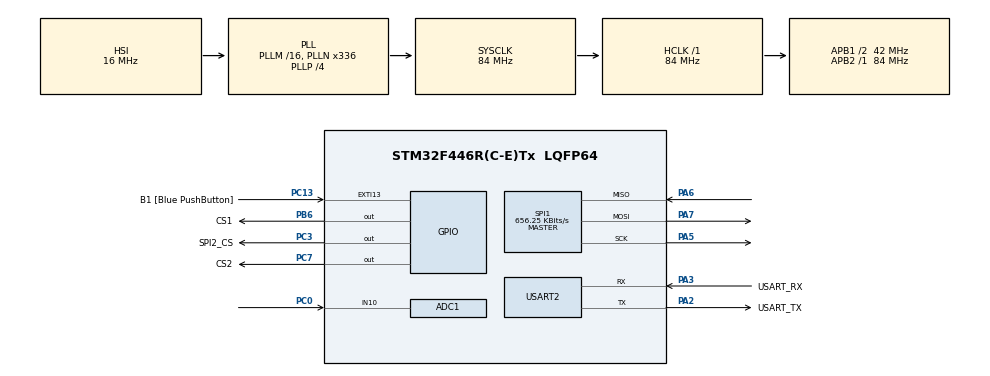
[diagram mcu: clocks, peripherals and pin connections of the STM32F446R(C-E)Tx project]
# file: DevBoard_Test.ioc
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ADC1.Channel-0\#ChannelRegularConversion=ADC_CHANNEL_10
ADC1.NbrOfConversionFlag=1
ADC1.Rank-0\#ChannelRegularConversion=1
ADC1.SamplingTime-0\#ChannelRegularConversion=ADC_SAMPLETIME_3CYCLES
ADC1.master=1
Mcu.Family=STM32F4
Mcu.Name=STM32F446R(C-E)Tx
Mcu.Package=LQFP64
NVIC.PriorityGroup=NVIC_PRIORITYGROUP_0
NVIC.TIM8_BRK_TIM12_IRQn=true\:0\:0\:false\:false\:true\:true\:true
NVIC.TIM8_TRG_COM_TIM14_IRQn=true\:0\:0\:false\:false\:true\:true\:true
NVIC.TIM8_UP_TIM13_IRQn=true\:0\:1\:false\:false\:true\:true\:true
PA13.GPIO_Label=TMS
PA13.Mode=Serial_Wire
PA13.Signal=SYS_JTMS-SWDIO
PA14.GPIO_Label=TCK
PA14.Mode=Serial_Wire
PA14.Signal=SYS_JTCK-SWCLK
PA2.GPIO_Label=USART_TX
PA2.Mode=Asynchronous
PA2.Signal=USART2_TX
PA3.GPIO_Label=USART_RX
PA3.Mode=Asynchronous
PA3.Signal=USART2_RX
PA5.Mode=Full_Duplex_Master
PA5.Signal=SPI1_SCK
PA6.Mode=Full_Duplex_Master
PA6.Signal=SPI1_MISO
PA7.Mode=Full_Duplex_Master
PA7.Signal=SPI1_MOSI
PB3.GPIO_Label=SWO
PB3.Signal=SYS_JTDO-SWO
PB6.GPIO_Label=CS1
PB6.Signal=GPIO_Output
PC0.Signal=ADCx_IN10
PC13.GPIO_Label=B1 [Blue PushButton]
PC13.GPIO_ModeDefaultEXTI=GPIO_MODE_IT_FALLING
PC13.Signal=GPXTI13
PC14-OSC32_IN.Mode=LSE-External-Oscillator
PC14-OSC32_IN.Signal=RCC_OSC32_IN
PC15-OSC32_OUT.Mode=LSE-External-Oscillator
PC15-OSC32_OUT.Signal=RCC_OSC32_OUT
PC3.GPIO_Label=SPI2_CS
PC3.Signal=GPIO_Output
PC7.GPIO_Label=CS2
PC7.Signal=GPIO_Output
PH0-OSC_IN.Mode=HSE-External-Oscillator
PH0-OSC_IN.Signal=RCC_OSC_IN
PH1-OSC_OUT.Mode=HSE-External-Oscillator
PH1-OSC_OUT.Signal=RCC_OSC_OUT
ProjectManager.HeapSize=0x200
ProjectManager.StackSize=0x400
ProjectManager.TargetToolchain=STM32CubeIDE
RCC.48MHZClocksFreq_Value=84000000
RCC.AHBFreq_Value=84000000
RCC.APB1CLKDivider=RCC_HCLK_DIV2
RCC.APB1Freq_Value=42000000
RCC.APB1TimFreq_Value=84000000
RCC.APB2Freq_Value=84000000
RCC.APB2TimFreq_Value=84000000
RCC.CortexFreq_Value=84000000
RCC.FLatency-AdvancedSettings=FLASH_LATENCY_2
RCC.HCLKFreq_Value=84000000
RCC.HSE_VALUE=8000000
RCC.HSI_VALUE=16000000
RCC.PLLN=336
RCC.PLLP=RCC_PLLP_DIV4
RCC.SYSCLKFreq_VALUE=84000000
RCC.SYSCLKSource=RCC_SYSCLKSOURCE_PLLCLK
RCC.USBFreq_Value=168000000
RCC.VCOOutputFreq_Value=336000000
SH.ADCx_IN10.0=ADC1_IN10,IN10
SPI1.BaudRatePrescaler=SPI_BAUDRATEPRESCALER_128
SPI1.CalculateBaudRate=656.25 KBits/s
SPI1.Direction=SPI_DIRECTION_2LINES
SPI1.Mode=SPI_MODE_MASTER
SPI1.VirtualType=VM_MASTER
TIM11.Prescaler=84-1
TIM12.Period=12500-1
TIM12.Prescaler=33600-1
TIM13.Period=10000-1
TIM13.Prescaler=8400-1
TIM14.Period=1000-1
TIM14.Prescaler=8400-1
USART2.VirtualMode=VM_ASYNC
VP_TIM11_VS_ClockSourceINT.Mode=Enable_Timer
VP_TIM12_VS_ClockSourceINT.Mode=Internal
VP_TIM13_VS_ClockSourceINT.Mode=Enable_Timer
VP_TIM14_VS_ClockSourceINT.Mode=Enable_Timer
board=NUCLEO-F446RE

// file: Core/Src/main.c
/* USER CODE BEGIN Header */
/**
  ******************************************************************************
  * @file           : main.c
  * @brief          : Main program body
  ******************************************************************************
  * @attention
  *
  * <h2><center>&copy; Copyright (c) 2022 STMicroelectronics.
  * All rights reserved.</center></h2>
  *
  * This software component is licensed by ST under BSD 3-Clause license,
  * the "License"; You may not use this file except in compliance with the
  * License. You may obtain a copy of the License at:
  *                        opensource.org/licenses/BSD-3-Clause
  *
  ******************************************************************************
  */
/* USER CODE END Header */
#include "main.h"

/* USER CODE BEGIN Includes */
#include <stdio.h>
/* USER CODE END Includes */

ADC_HandleTypeDef hadc1;

SPI_HandleTypeDef hspi1;

TIM_HandleTypeDef htim11;
TIM_HandleTypeDef htim12;
TIM_HandleTypeDef htim13;
TIM_HandleTypeDef htim14;

UART_HandleTypeDef huart2;

void SystemClock_Config(void);
static void MX_GPIO_Init(void);
static void MX_USART2_UART_Init(void);
static void MX_TIM13_Init(void);
static void MX_SPI1_Init(void);
static void MX_TIM14_Init(void);
static void MX_TIM11_Init(void);
static void MX_TIM12_Init(void);
static void MX_ADC1_Init(void);

/* USER CODE BEGIN 0 */
LTC6811_2_IC ic;
ACCUMULATOR acc;
/* USER CODE END 0 */

int main(void)
{

  /* MCU Configuration--------------------------------------------------------*/

  /* Reset of all peripherals, Initializes the Flash interface and the Systick. */
  HAL_Init();

  /* Configure the system clock */
  SystemClock_Config();

  /* Initialize all configured peripherals */
  MX_GPIO_Init();
  MX_USART2_UART_Init();
  MX_TIM13_Init();
  MX_SPI1_Init();
  MX_TIM14_Init();
  MX_TIM11_Init();
  MX_TIM12_Init();
  MX_ADC1_Init();
  /* USER CODE BEGIN 2 */
	HAL_TIM_Base_Start(&htim11);

	HAL_GPIO_WritePin(CS1_GPIO_Port, CS1_Pin, 1);
	HAL_GPIO_WritePin(CS2_GPIO_Port, CS2_Pin, 1);
	/*uart_buf_len = sprintf(uart_buf, "Timer test\r\n");
	HAL_UART_Transmit(&huart2, (uint8_t *)uart_buf, uart_buf_len, 100);

	uart_buf2[0] = 0x41;
	uart_buf2[1] = 0x42;
	uart_buf2[2] = 0x43;
	uart_buf2[3] = 0x0D;
	uart_buf2[4] = 0x0A;

	HAL_UART_Transmit(&huart2, (uint8_t *)uart_buf2, 5, 100);*/

	//ic.address = 0b11010000;
	//ic.num_Cells = 8;
	ic.UV_OV_Flag = 0;
	ic.num_Cells = 15;
	ic.address = 0x00;
	//LTC6811_startup_new(&ic);

	LTC6811_startup(&ic);
	//get_init_SoC(&acc);

	HAL_TIM_Base_Start_IT(&htim14);
	//HAL_TIM_Base_Start_IT(&htim13);

	//TEST_dischargeCell(&ic);

	//if (chargePin == 1){						//Balance charging enable
		if(ic.UV_OV_Flag == 0){
			HAL_TIM_Base_Start_IT(&htim13);
		}
	//
	//}

  /* USER CODE END 2 */

  /* Infinite loop */
  while (1)
  {

  }
}

void SystemClock_Config(void)
{
  RCC_OscInitTypeDef RCC_OscInitStruct = {0};
  RCC_ClkInitTypeDef RCC_ClkInitStruct = {0};

  /** Configure the main internal regulator output voltage
  */
  __HAL_RCC_PWR_CLK_ENABLE();
  __HAL_PWR_VOLTAGESCALING_CONFIG(PWR_REGULATOR_VOLTAGE_SCALE3);
  /** Initializes the RCC Oscillators according to the specified parameters
  * in the RCC_OscInitTypeDef structure.
  */
  RCC_OscInitStruct.OscillatorType = RCC_OSCILLATORTYPE_HSI;
  RCC_OscInitStruct.HSIState = RCC_HSI_ON;
  RCC_OscInitStruct.HSICalibrationValue = RCC_HSICALIBRATION_DEFAULT;
  RCC_OscInitStruct.PLL.PLLState = RCC_PLL_ON;
  RCC_OscInitStruct.PLL.PLLSource = RCC_PLLSOURCE_HSI;
  RCC_OscInitStruct.PLL.PLLM = 16;
  RCC_OscInitStruct.PLL.PLLN = 336;
  RCC_OscInitStruct.PLL.PLLP = RCC_PLLP_DIV4;
  RCC_OscInitStruct.PLL.PLLQ = 2;
  RCC_OscInitStruct.PLL.PLLR = 2;
  if (HAL_RCC_OscConfig(&RCC_OscInitStruct) != HAL_OK)
  {
    Error_Handler();
  }
  /** Initializes the CPU, AHB and APB buses clocks
  */
  RCC_ClkInitStruct.ClockType = RCC_CLOCKTYPE_HCLK|RCC_CLOCKTYPE_SYSCLK
                              |RCC_CLOCKTYPE_PCLK1|RCC_CLOCKTYPE_PCLK2;
  RCC_ClkInitStruct.SYSCLKSource = RCC_SYSCLKSOURCE_PLLCLK;
  RCC_ClkInitStruct.AHBCLKDivider = RCC_SYSCLK_DIV1;
  RCC_ClkInitStruct.APB1CLKDivider = RCC_HCLK_DIV2;
  RCC_ClkInitStruct.APB2CLKDivider = RCC_HCLK_DIV1;

  if (HAL_RCC_ClockConfig(&RCC_ClkInitStruct, FLASH_LATENCY_2) != HAL_OK)
  {
    Error_Handler();
  }
}

static void MX_ADC1_Init(void)
{

  ADC_ChannelConfTypeDef sConfig = {0};

  /** Configure the global features of the ADC (Clock, Resolution, Data Alignment and number of conversion)
  */
  hadc1.Instance = ADC1;
  hadc1.Init.ClockPrescaler = ADC_CLOCK_SYNC_PCLK_DIV4;
  hadc1.Init.Resolution = ADC_RESOLUTION_12B;
  hadc1.Init.ScanConvMode = DISABLE;
  hadc1.Init.ContinuousConvMode = DISABLE;
  hadc1.Init.DiscontinuousConvMode = DISABLE;
  hadc1.Init.ExternalTrigConvEdge = ADC_EXTERNALTRIGCONVEDGE_NONE;
  hadc1.Init.ExternalTrigConv = ADC_SOFTWARE_START;
  hadc1.Init.DataAlign = ADC_DATAALIGN_RIGHT;
  hadc1.Init.NbrOfConversion = 1;
  hadc1.Init.DMAContinuousRequests = DISABLE;
  hadc1.Init.EOCSelection = ADC_EOC_SINGLE_CONV;
  if (HAL_ADC_Init(&hadc1) != HAL_OK)
  {
    Error_Handler();
  }
  /** Configure for the selected ADC regular channel its corresponding rank in the sequencer and its sample time.
  */
  sConfig.Channel = ADC_CHANNEL_10;
  sConfig.Rank = 1;
  sConfig.SamplingTime = ADC_SAMPLETIME_3CYCLES;
  if (HAL_ADC_ConfigChannel(&hadc1, &sConfig) != HAL_OK)
  {
    Error_Handler();
  }

}

static void MX_SPI1_Init(void)
{

  /* SPI1 parameter configuration*/
  hspi1.Instance = SPI1;
  hspi1.Init.Mode = SPI_MODE_MASTER;
  hspi1.Init.Direction = SPI_DIRECTION_2LINES;
  hspi1.Init.DataSize = SPI_DATASIZE_8BIT;
  hspi1.Init.CLKPolarity = SPI_POLARITY_LOW;
  hspi1.Init.CLKPhase = SPI_PHASE_1EDGE;
  hspi1.Init.NSS = SPI_NSS_SOFT;
  hspi1.Init.BaudRatePrescaler = SPI_BAUDRATEPRESCALER_128;
  hspi1.Init.FirstBit = SPI_FIRSTBIT_MSB;
  hspi1.Init.TIMode = SPI_TIMODE_DISABLE;
  hspi1.Init.CRCCalculation = SPI_CRCCALCULATION_DISABLE;
  hspi1.Init.CRCPolynomial = 10;
  if (HAL_SPI_Init(&hspi1) != HAL_OK)
  {
    Error_Handler();
  }

}

static void MX_TIM11_Init(void)
{

  htim11.Instance = TIM11;
  htim11.Init.Prescaler = 84-1;
  htim11.Init.CounterMode = TIM_COUNTERMODE_UP;
  htim11.Init.Period = 65535;
  htim11.Init.ClockDivision = TIM_CLOCKDIVISION_DIV1;
  htim11.Init.AutoReloadPreload = TIM_AUTORELOAD_PRELOAD_DISABLE;
  if (HAL_TIM_Base_Init(&htim11) != HAL_OK)
  {
    Error_Handler();
  }

}

static void MX_TIM12_Init(void)
{

  TIM_ClockConfigTypeDef sClockSourceConfig = {0};

  htim12.Instance = TIM12;
  htim12.Init.Prescaler = 33600-1;
  htim12.Init.CounterMode = TIM_COUNTERMODE_UP;
  htim12.Init.Period = 12500-1;
  htim12.Init.ClockDivision = TIM_CLOCKDIVISION_DIV1;
  htim12.Init.AutoReloadPreload = TIM_AUTORELOAD_PRELOAD_DISABLE;
  if (HAL_TIM_Base_Init(&htim12) != HAL_OK)
  {
    Error_Handler();
  }
  sClockSourceConfig.ClockSource = TIM_CLOCKSOURCE_INTERNAL;
  if (HAL_TIM_ConfigClockSource(&htim12, &sClockSourceConfig) != HAL_OK)
  {
    Error_Handler();
  }

}

static void MX_TIM13_Init(void)
{

  htim13.Instance = TIM13;
  htim13.Init.Prescaler = 8400-1;
  htim13.Init.CounterMode = TIM_COUNTERMODE_UP;
  htim13.Init.Period = 100000-1;
  htim13.Init.ClockDivision = TIM_CLOCKDIVISION_DIV1;
  htim13.Init.AutoReloadPreload = TIM_AUTORELOAD_PRELOAD_DISABLE;
  if (HAL_TIM_Base_Init(&htim13) != HAL_OK)
  {
    Error_Handler();
  }

}

static void MX_TIM14_Init(void)
{

  htim14.Instance = TIM14;
  htim14.Init.Prescaler = 8400-1;
  htim14.Init.CounterMode = TIM_COUNTERMODE_UP;
  htim14.Init.Period = 1000-1;
  htim14.Init.ClockDivision = TIM_CLOCKDIVISION_DIV1;
  htim14.Init.AutoReloadPreload = TIM_AUTORELOAD_PRELOAD_DISABLE;
  if (HAL_TIM_Base_Init(&htim14) != HAL_OK)
  {
    Error_Handler();
  }

}

static void MX_USART2_UART_Init(void)
{

  huart2.Instance = USART2;
  huart2.Init.BaudRate = 115200;
  huart2.Init.WordLength = UART_WORDLENGTH_8B;
  huart2.Init.StopBits = UART_STOPBITS_1;
  huart2.Init.Parity = UART_PARITY_NONE;
  huart2.Init.Mode = UART_MODE_TX_RX;
  huart2.Init.HwFlowCtl = UART_HWCONTROL_NONE;
  huart2.Init.OverSampling = UART_OVERSAMPLING_16;
  if (HAL_UART_Init(&huart2) != HAL_OK)
  {
    Error_Handler();
  }

}

static void MX_GPIO_Init(void)
{
  GPIO_InitTypeDef GPIO_InitStruct = {0};

  /* GPIO Ports Clock Enable */
  __HAL_RCC_GPIOC_CLK_ENABLE();
  __HAL_RCC_GPIOH_CLK_ENABLE();
  __HAL_RCC_GPIOA_CLK_ENABLE();
  __HAL_RCC_GPIOB_CLK_ENABLE();

  /*Configure GPIO pin Output Level */
  HAL_GPIO_WritePin(GPIOC, SPI2_CS_Pin|CS2_Pin, GPIO_PIN_RESET);

  /*Configure GPIO pin Output Level */
  HAL_GPIO_WritePin(CS1_GPIO_Port, CS1_Pin, GPIO_PIN_RESET);

  /*Configure GPIO pin : B1_Pin */
  GPIO_InitStruct.Pin = B1_Pin;
  GPIO_InitStruct.Mode = GPIO_MODE_IT_FALLING;
  GPIO_InitStruct.Pull = GPIO_NOPULL;
  HAL_GPIO_Init(B1_GPIO_Port, &GPIO_InitStruct);

  /*Configure GPIO pins : SPI2_CS_Pin CS2_Pin */
  GPIO_InitStruct.Pin = SPI2_CS_Pin|CS2_Pin;
  GPIO_InitStruct.Mode = GPIO_MODE_OUTPUT_PP;
  GPIO_InitStruct.Pull = GPIO_NOPULL;
  GPIO_InitStruct.Speed = GPIO_SPEED_FREQ_LOW;
  HAL_GPIO_Init(GPIOC, &GPIO_InitStruct);

  /*Configure GPIO pin : CS1_Pin */
  GPIO_InitStruct.Pin = CS1_Pin;
  GPIO_InitStruct.Mode = GPIO_MODE_OUTPUT_PP;
  GPIO_InitStruct.Pull = GPIO_NOPULL;
  GPIO_InitStruct.Speed = GPIO_SPEED_FREQ_LOW;
  HAL_GPIO_Init(CS1_GPIO_Port, &GPIO_InitStruct);

}

/* USER CODE BEGIN 4 */
void HAL_TIM_PeriodElapsedCallback(TIM_HandleTypeDef *htim){
	if(htim == &htim13){				//0.5 second timer
		//TEST_dischargeCell(&ic);
		if(ic.UV_OV_Flag == 1){
			HAL_TIM_Base_Stop_IT(&htim13);
		}else{
			chargeMODE(&ic,&acc);
		}
		//TEST_dischargeCell(&ic);
	}else if(htim == &htim14){			//100ms timer
		//updateSegmentVoltages_new(&ic);	//update segment structure cell voltages
		updateSegmentVoltages_And_Temp(&ic);
		if(check_UV_OV_flags_new(&ic)){// || check_temp(&ic)){		//check for UV/OV conditions
			//do something?????
			HAL_GPIO_WritePin(CS2_GPIO_Port, CS2_Pin, 0);
			ic.UV_OV_Flag = 1;
		}else{
			HAL_GPIO_WritePin(CS2_GPIO_Port, CS2_Pin, 1);
			ic.UV_OV_Flag = 0;
		}
		//update_Current(&acc);
		//SoC_Update(&acc);
		print_Cell_Voltages(&ic, &acc);			//print over serial
	}
	else if(htim == &htim12){
		if(ic.num_balanced_cells != -1){	//if balance timer has triggered and we are balancing cells, disable balance
			ic.CFGR[4] = 0x00;
			ic.CFGR[5] = 0x00;
			ic.CFGRB[0] &= (0b10001111);
			LTC6811_WRCFGA(ic);
			LTC6811_WRCFGB(ic);
			ic.num_balanced_cells = -1;		//-1 indicates that we are resting between discharges
		}else{
			ic.num_balanced_cells = 0;
			HAL_TIM_Base_Stop_IT(&htim12);
		}
	}
}

void delay_us(uint16_t us){
	__HAL_TIM_SET_COUNTER(&htim11,0);  // set the counter value a 0
	while (__HAL_TIM_GET_COUNTER(&htim11) < us);
}

void delay_s(uint16_t s){			//max 26seconds
	__HAL_TIM_SET_COUNTER(&htim12,0);  // set the counter value a 0
	while (__HAL_TIM_GET_COUNTER(&htim12) < s*2500);
}

/* USER CODE END 4 */

void Error_Handler(void)
{
  __disable_irq();
  while (1)
  {
  }
}

/************************ (C) COPYRIGHT STMicroelectronics *****END OF FILE****/
